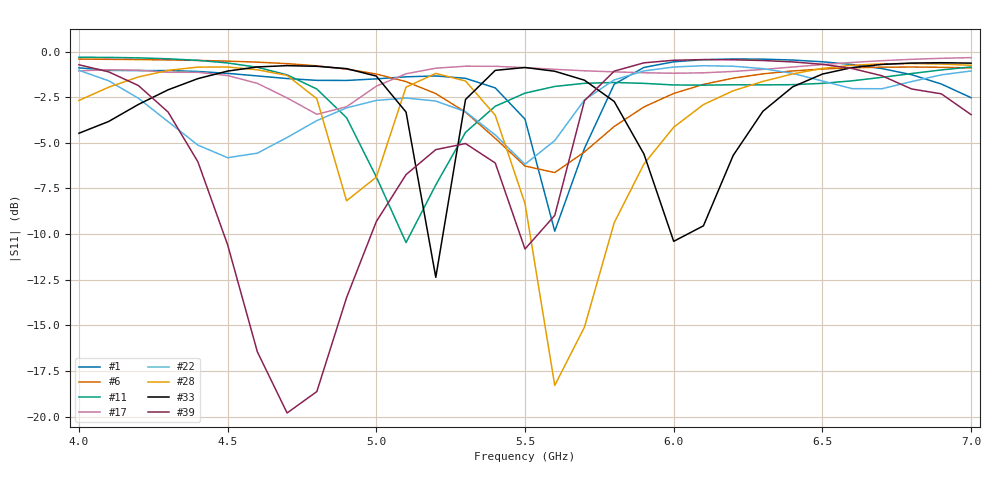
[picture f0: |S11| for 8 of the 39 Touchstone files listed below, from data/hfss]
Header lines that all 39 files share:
! Touchstone file exported from HFSS 2024.2.0
!  File:  C:/Users/wsak9/Desktop/Sim Fast/Widenad Patch/WP_AI_V1_sweep.aedt
!  Design:  A1_model
!  Project:  WP_AI_V1_sweep
!  Setup:  Setup1
!  Solution:  Sweep
! Variables:
!Data is not renormalized
# GHz S MA
! Terminal data exported
! Port[1] = 1
Fixed: Curve_len1 = 1, H_sub = 0.79mm
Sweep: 4 GHz to 7 GHz
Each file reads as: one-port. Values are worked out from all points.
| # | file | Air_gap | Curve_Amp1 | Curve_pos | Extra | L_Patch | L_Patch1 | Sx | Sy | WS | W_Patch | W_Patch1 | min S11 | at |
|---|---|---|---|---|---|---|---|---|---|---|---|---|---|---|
| 1 | run_0200.s1p | 4.14mm | 2.74 | 10.86mm | 3.67mm | 17.72mm | 20.6mm | 2.78mm | 1.03mm | 1.09mm | 22.52mm | 16.93mm | -9.8 dB | 5.6 GHz |
| 2 | run_0201.s1p | 4.15mm | 2.68 | 12.85mm | 1.11mm | 21.7mm | 11.67mm | 2.29mm | 4.94mm | 0.51mm | 14.8mm | 10.56mm | -7.9 dB | 4.4 GHz |
| 3 | run_0202.s1p | 3.74mm | 1 | 10.775mm | 6.67mm | 17.55mm | 17.22mm | 4.37mm | 3.75mm | 0.22mm | 14.69mm | 10.55mm | -12.3 dB | 5.8 GHz |
| 4 | run_0203.s1p | 3.86mm | 0.61 | 11.825mm | 5.04mm | 19.65mm | 14.2mm | 4.21mm | 2.88mm | 1.23mm | 11.35mm | 9.16mm | -3.7 dB | 5.1 GHz |
| 5 | run_0204.s1p | 2.93mm | 3.17 | 11.75mm | 7.76mm | 19.5mm | 19.12mm | 0.78mm | 4.87mm | 1.16mm | 18.28mm | 11.36mm | -20.6 dB | 4.6 GHz |
| 6 | run_0205.s1p | 1.66mm | 1.18 | 10.575mm | 1.01mm | 17.15mm | 9.46mm | 3.2mm | 3.74mm | 1.36mm | 17.84mm | 8.45mm | -6.6 dB | 5.6 GHz |
| 7 | run_0206.s1p | 1.56mm | 1.59 | 12.555mm | 5.93mm | 21.11mm | 16.01mm | 1.47mm | 3.76mm | 0.87mm | 22.97mm | 10.08mm | -19.0 dB | 4.3 GHz |
| 8 | run_0207.s1p | 1.61mm | 2.63 | 11.435mm | 6.07mm | 18.87mm | 15.5mm | 3.56mm | 0.62mm | 0.79mm | 14.4mm | 9.43mm | -14.9 dB | 4.8 GHz |
| 9 | run_0208.s1p | 2.46mm | 1.74 | 12.605mm | 2.29mm | 21.21mm | 13.99mm | 3.19mm | 4.34mm | 0.77mm | 17.93mm | 11.7mm | -14.6 dB | 4.5 GHz |
| 10 | run_0209.s1p | 4.37mm | 1.58 | 9.95mm | 7.14mm | 15.9mm | 19.76mm | 3.23mm | 1.28mm | 1.18mm | 19.79mm | 12.62mm | -4.2 dB | 6.2 GHz |
| 11 | run_0210.s1p | 4.26mm | 2 | 11.41mm | 2.46mm | 18.82mm | 11.72mm | 4.87mm | 4.45mm | 1.23mm | 15.52mm | 9.26mm | -10.5 dB | 5.1 GHz |
| 12 | run_0211.s1p | 4.92mm | 2.55 | 11.01mm | 3.12mm | 18.02mm | 16.2mm | 1.92mm | 1.13mm | 0.69mm | 14.22mm | 13.08mm | -11.2 dB | 5.7 GHz |
| 13 | run_0212.s1p | 2.44mm | 3.61 | 9.79mm | 7.08mm | 15.58mm | 18.98mm | 2.16mm | 3.38mm | 1.01mm | 18.19mm | 11.9mm | -6.2 dB | 5.6 GHz |
| 14 | run_0213.s1p | 4.06mm | 2.36 | 13.47mm | 5.79mm | 22.94mm | 14.48mm | 2.72mm | 3.25mm | 0.86mm | 19.24mm | 8.69mm | -15.9 dB | 4.2 GHz |
| 15 | run_0214.s1p | 4.43mm | 3.66 | 10.34mm | 5.69mm | 16.68mm | 16.2mm | 0.76mm | 1.64mm | 0.82mm | 18.07mm | 10.51mm | -7.7 dB | 5.5 GHz |
| 16 | run_0215.s1p | 1.85mm | 1.75 | 12.24mm | 0.54mm | 20.48mm | 12.46mm | 3.51mm | 1.84mm | 0.49mm | 17.03mm | 11.92mm | -14.3 dB | 4.7 GHz |
| 17 | run_0216.s1p | 3.8mm | 2.22 | 12.465mm | 3.83mm | 20.93mm | 19.48mm | 1.46mm | 0.24mm | 1.21mm | 11.82mm | 15.65mm | -3.4 dB | 4.8 GHz |
| 18 | run_0217.s1p | 3.01mm | 3.24 | 11.955mm | 1.35mm | 19.91mm | 17.24mm | 3.55mm | 1.06mm | 1.12mm | 21.36mm | 15.89mm | -8.4 dB | 4.5 GHz |
| 19 | run_0218.s1p | 4.35mm | 2.32 | 10.16mm | 4.98mm | 16.32mm | 19.08mm | 3.12mm | 4.68mm | 1.31mm | 19.02mm | 14.1mm | -6.1 dB | 6.1 GHz |
| 20 | run_0219.s1p | 1.72mm | 3.8 | 9.715mm | 6.21mm | 15.43mm | 19.35mm | 4.01mm | 1.55mm | 0.73mm | 16.51mm | 13.14mm | -5.5 dB | 6.3 GHz |
| 21 | run_0220.s1p | 3.4mm | 0.77 | 12.205mm | 6.53mm | 20.41mm | 17.32mm | 3.43mm | 1.27mm | 1.2mm | 14.05mm | 10.79mm | -19.2 dB | 4.8 GHz |
| 22 | run_0221.s1p | 4.08mm | 3.01 | 11.365mm | 2.82mm | 18.73mm | 16.16mm | 0.27mm | 0.88mm | 0.98mm | 22.24mm | 13.34mm | -6.2 dB | 5.5 GHz |
| 23 | run_0222.s1p | 2.57mm | 1.03 | 12.27mm | 3.55mm | 20.54mm | 13.46mm | 1.72mm | 4.99mm | 0.62mm | 22.65mm | 9.91mm | -7.9 dB | 4.5 GHz |
| 24 | run_0223.s1p | 4.96mm | 1.98 | 12.7mm | 1.45mm | 21.4mm | 13.95mm | 1.91mm | 1.63mm | 1mm | 16.96mm | 12.5mm | -16.1 dB | 4.5 GHz |
| 25 | run_0224.s1p | 3.3mm | 3.57 | 10.865mm | 6.7mm | 17.73mm | 16.26mm | 4.27mm | 0.54mm | 0.21mm | 12.94mm | 9.56mm | -14.8 dB | 5.5 GHz |
| 26 | run_0225.s1p | 2.88mm | 2.74 | 10.05mm | 4.66mm | 16.1mm | 14.86mm | 4.8mm | 4.98mm | 0.85mm | 13.72mm | 10.2mm | -10.1 dB | 5.9 GHz |
| 27 | run_0226.s1p | 2.08mm | 1.6 | 10.845mm | 3.37mm | 17.69mm | 17.85mm | 2.09mm | 1.41mm | 1.2mm | 21.97mm | 14.48mm | -10.4 dB | 6 GHz |
| 28 | run_0227.s1p | 3.33mm | 3.74 | 11.97mm | 7.61mm | 19.94mm | 23.53mm | 3.65mm | 1.25mm | 1.19mm | 19.05mm | 15.92mm | -18.3 dB | 5.6 GHz |
| 29 | run_0228.s1p | 4.65mm | 1.16 | 12.385mm | 5.71mm | 20.77mm | 14.67mm | 2.43mm | 0.85mm | 1.21mm | 13.67mm | 8.96mm | -9.3 dB | 4.9 GHz |
| 30 | run_0229.s1p | 4.59mm | 1.15 | 12.955mm | 5.31mm | 21.91mm | 21.02mm | 3.95mm | 2.36mm | 1.44mm | 19.89mm | 15.71mm | -12.1 dB | 4.6 GHz |
| 31 | run_0230.s1p | 1.95mm | 0.78 | 12.1mm | 6.93mm | 20.2mm | 16.41mm | 0.93mm | 3.86mm | 0.43mm | 15.47mm | 9.48mm | -11.4 dB | 4.4 GHz |
| 32 | run_0231.s1p | 1.92mm | 3.67 | 11.585mm | 4.54mm | 19.17mm | 19.04mm | 0.59mm | 3.48mm | 0.3mm | 15.01mm | 14.5mm | -18.6 dB | 5.5 GHz |
| 33 | run_0232.s1p | 2.58mm | 3.4 | 11.375mm | 6.81mm | 18.75mm | 23.1mm | 3.4mm | 3.87mm | 0.31mm | 16.83mm | 16.29mm | -12.4 dB | 5.2 GHz |
| 34 | run_0233.s1p | 2.84mm | 1.7 | 13.425mm | 7.81mm | 22.85mm | 20.35mm | 3.26mm | 4.75mm | 0.46mm | 13.51mm | 12.54mm | -18.6 dB | 4.3 GHz |
| 35 | run_0234.s1p | 1.51mm | 0.61 | 11.265mm | 4.52mm | 18.53mm | 16.7mm | 3.05mm | 4.47mm | 0.34mm | 15.04mm | 12.18mm | -16.5 dB | 4.8 GHz |
| 36 | run_0235.s1p | 3.89mm | 1.7 | 12.94mm | 6.09mm | 21.88mm | 19.79mm | 4.78mm | 4.38mm | 1.23mm | 13.58mm | 13.7mm | -14.5 dB | 4.6 GHz |
| 37 | run_0236.s1p | 4.79mm | 3.48 | 10.875mm | 4mm | 17.75mm | 13.82mm | 0.52mm | 2.46mm | 0.82mm | 19.3mm | 9.82mm | -15.4 dB | 5.9 GHz |
| 38 | run_0237.s1p | 2.31mm | 1.89 | 12.92mm | 1.32mm | 21.84mm | 13.46mm | 0.74mm | 4.19mm | 0.8mm | 21.43mm | 12.14mm | -14.4 dB | 4.3 GHz |
| 39 | run_0238.s1p | 2.12mm | 2.73 | 11.145mm | 4.99mm | 18.29mm | 20.01mm | 2.82mm | 3.64mm | 0.57mm | 14.3mm | 15.02mm | -19.8 dB | 4.7 GHz |
